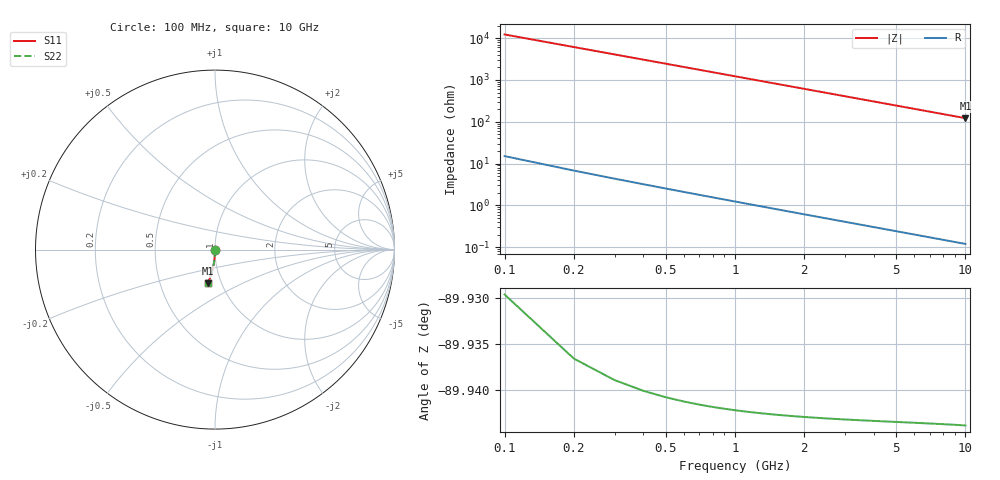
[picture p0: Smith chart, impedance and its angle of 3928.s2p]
# Hz S RI R 50.00
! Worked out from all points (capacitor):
!   100 points, 100 MHz to 10 GHz, reference 50 ohm
!   read as one part in shunt: C = 130 fF near 100 MHz
!   lowest |Z| = 122 ohm at 10 GHz (marker M1)
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1e8  4.19e-05 -0.00196  0.9999 -0.00213  0.9999 -0.00213  4.19e-05 -0.00196
2e8  2.77e-05 -0.00392  0.9999 -0.00426  0.9999 -0.00426  2.77e-05 -0.00392
3e8  5.06e-06 -0.00587  0.9999 -0.00639  0.9999 -0.00639  5.06e-06 -0.00587
4e8  -2.59e-05 -0.00783  0.9999 -0.00851  0.9999 -0.00851  -2.59e-05 -0.00783
5e8  -6.53e-05 -0.00979  0.9998 -0.0106  0.9998 -0.0106  -6.53e-05 -0.00979
6e8  -0.000113 -0.0117  0.9998 -0.0128  0.9998 -0.0128  -0.000113 -0.0117
7e8  -0.000169 -0.0137  0.9997 -0.0149  0.9997 -0.0149  -0.000169 -0.0137
8e8  -0.000233 -0.0157  0.9997 -0.017  0.9997 -0.017  -0.000233 -0.0157
9e8  -0.000306 -0.0176  0.9996 -0.0192  0.9996 -0.0192  -0.000306 -0.0176
1.1e9  -0.000477 -0.0215  0.9994 -0.0234  0.9994 -0.0234  -0.000477 -0.0215
1.4e9  -0.000795 -0.0274  0.9991 -0.0298  0.9991 -0.0298  -0.000795 -0.0274
1.8e9  -0.00134 -0.0352  0.9986 -0.0383  0.9986 -0.0383  -0.00134 -0.0352
2.1e9  -0.00183 -0.0411  0.9981 -0.0447  0.9981 -0.0447  -0.00183 -0.0411
2.5e9  -0.0026 -0.0489  0.9973 -0.0531  0.9973 -0.0531  -0.0026 -0.0489
2.9e9  -0.00351 -0.0566  0.9964 -0.0616  0.9964 -0.0616  -0.00351 -0.0566
3.4e9  -0.00483 -0.0663  0.9951 -0.0721  0.9951 -0.0721  -0.00483 -0.0663
4.2e9  -0.00736 -0.0818  0.9925 -0.0889  0.9925 -0.0889  -0.00736 -0.0818
5.1e9  -0.0108 -0.099  0.989 -0.1077  0.989 -0.1077  -0.0108 -0.099
5.9e9  -0.0145 -0.1141  0.9854 -0.1243  0.9854 -0.1243  -0.0145 -0.1141
6.7e9  -0.0186 -0.1291  0.9812 -0.1406  0.9812 -0.1406  -0.0186 -0.1291
8.4e9  -0.029 -0.1603  0.9708 -0.1748  0.9708 -0.1748  -0.029 -0.1603
1e10  -0.0407 -0.1887  0.9591 -0.2059  0.9591 -0.2059  -0.0407 -0.1887
